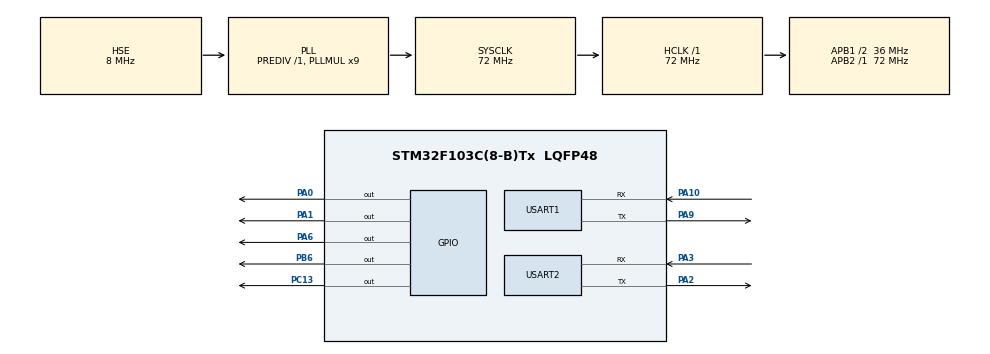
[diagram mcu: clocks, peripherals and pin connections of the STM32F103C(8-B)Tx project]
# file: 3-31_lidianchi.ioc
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Mcu.Family=STM32F1
Mcu.Name=STM32F103C(8-B)Tx
Mcu.Package=LQFP48
NVIC.PriorityGroup=NVIC_PRIORITYGROUP_4
NVIC.USART1_IRQn=true\:0\:0\:false\:false\:true\:true\:true\:true
NVIC.USART2_IRQn=true\:2\:0\:true\:false\:true\:true\:true\:true
PA0-WKUP.GPIO_ModeDefaultOutputPP=GPIO_MODE_OUTPUT_PP
PA0-WKUP.GPIO_PuPd=GPIO_NOPULL
PA0-WKUP.Signal=GPIO_Output
PA1.GPIO_ModeDefaultOutputPP=GPIO_MODE_OUTPUT_PP
PA1.GPIO_PuPd=GPIO_PULLUP
PA1.PinState=GPIO_PIN_SET
PA1.Signal=GPIO_Output
PA10.Mode=Asynchronous
PA10.Signal=USART1_RX
PA13.Mode=Serial_Wire
PA13.Signal=SYS_JTMS-SWDIO
PA14.Mode=Serial_Wire
PA14.Signal=SYS_JTCK-SWCLK
PA2.Mode=Asynchronous
PA2.Signal=USART2_TX
PA3.Mode=Asynchronous
PA3.Signal=USART2_RX
PA6.GPIO_ModeDefaultOutputPP=GPIO_MODE_OUTPUT_PP
PA6.GPIO_PuPd=GPIO_PULLUP
PA6.PinState=GPIO_PIN_SET
PA6.Signal=GPIO_Output
PA9.Mode=Asynchronous
PA9.Signal=USART1_TX
PB6.GPIO_ModeDefaultOutputPP=GPIO_MODE_OUTPUT_PP
PB6.GPIO_PuPd=GPIO_PULLUP
PB6.PinState=GPIO_PIN_SET
PB6.Signal=GPIO_Output
PC13-TAMPER-RTC.GPIO_ModeDefaultOutputPP=GPIO_MODE_OUTPUT_PP
PC13-TAMPER-RTC.GPIO_PuPd=GPIO_PULLUP
PC13-TAMPER-RTC.PinState=GPIO_PIN_SET
PC13-TAMPER-RTC.Signal=GPIO_Output
PD0-OSC_IN.Mode=HSE-External-Oscillator
PD0-OSC_IN.Signal=RCC_OSC_IN
PD1-OSC_OUT.Mode=HSE-External-Oscillator
PD1-OSC_OUT.Signal=RCC_OSC_OUT
ProjectManager.HeapSize=0x200
ProjectManager.StackSize=0x400
ProjectManager.TargetToolchain=MDK-ARM V5.32
RCC.AHBFreq_Value=72000000
RCC.APB1CLKDivider=RCC_HCLK_DIV2
RCC.APB1Freq_Value=36000000
RCC.APB1TimFreq_Value=72000000
RCC.APB2Freq_Value=72000000
RCC.APB2TimFreq_Value=72000000
RCC.HCLKFreq_Value=72000000
RCC.PLLMUL=RCC_PLL_MUL9
RCC.PLLSourceVirtual=RCC_PLLSOURCE_HSE
RCC.SYSCLKFreq_VALUE=72000000
RCC.SYSCLKSource=RCC_SYSCLKSOURCE_PLLCLK
RCC.USBFreq_Value=72000000
USART1.VirtualMode=VM_ASYNC
USART2.VirtualMode=VM_ASYNC
board=custom

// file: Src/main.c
/* USER CODE BEGIN Header */
/**
  ******************************************************************************
  * @file           : main.c
  * @brief          : Main program body
  ******************************************************************************
  * @attention
  *
  * Copyright (c) 2026 STMicroelectronics.
  * All rights reserved.
  *
  * This software is licensed under terms that can be found in the LICENSE file
  * in the root directory of this software component.
  * If no LICENSE file comes with this software, it is provided AS-IS.
  *
  ******************************************************************************
  */
/* USER CODE END Header */
#include "main.h"
#include "usart.h"
#include "gpio.h"

/* USER CODE BEGIN Includes */
#include "oled.h"
#include "ina226.h"
#include "bsp_delay.h"
#include "stdio.h"  // �����Ҫ�� printf ��ӡ���ڣ���Ҫ�������
#include "dht11.h"
#include "key.h"
#include "cloud_service.h"
/* USER CODE END Includes */

/* USER CODE BEGIN PTD */
float temp,humi;
extern uint8_t NET_State;
float bus_voltage = 0.0f;
    float current_ma = 0.0f;
    float power_mw = 0.0f;
// extern uint8_t NET_Step; // 连接步骤状态机变量

#define ALARM_BLINK_TIME_MS        3000U
#define VOL_THRESHOLD_MIN_V          2.50f
#define VOL_THRESHOLD_MAX_V          5.00f
#define VOL_THRESHOLD_STEP_V         0.10f
#define ALARM_BLINK_PERIOD_MS       250U
/* 手动消警后，3秒内不允许再次触发 */
#define ALARM_RETRIGGER_GUARD_MS   3000U
/* 继电器恢复供电后，先给系统和云连接留稳定时间 */
#define POWER_RESTORE_MUTE_MS      8000U
/* DHT11 采样周期，避免读取过于频繁导致失败 */
#define DHT11_SAMPLE_INTERVAL_MS   1500U

typedef enum {
  ALARM_IDLE = 0,
  ALARM_BLINKING,
  ALARM_LATCHED
} alarm_state_t;

static alarm_state_t g_alarm_state = ALARM_IDLE;
static uint32_t g_alarm_start_tick = 0;
static uint32_t g_alarm_last_blink_tick = 0;
static uint32_t g_alarm_guard_until = 0;
static uint32_t g_alarm_auto_enable_tick = 0;
static uint32_t g_dht_next_tick = 0;
static float g_voltage_threshold_v = 2.7f;

static uint8_t TickExpired(uint32_t now, uint32_t deadline)
{
  /* 用带符号差值避免Tick溢出引发判断错误 */
  return (int32_t)(now - deadline) >= 0;
}

static void Alarm_Start(uint32_t now)
{
  /* 启动报警：进入闪烁阶段 */
  g_alarm_state = ALARM_BLINKING;
  Cloud_SetBaojing(true);
  g_alarm_start_tick = now;
  g_alarm_last_blink_tick = now;
}

static void Alarm_Clear(uint32_t now)
{
  /* 手动消警：恢复空闲态并开启防重复触发窗口 */
  g_alarm_state = ALARM_IDLE;
  Cloud_SetBaojing(false);
  g_alarm_guard_until = now + ALARM_RETRIGGER_GUARD_MS;
  HAL_GPIO_WritePin(GPIOC, GPIO_PIN_13, GPIO_PIN_SET);
}

static void Alarm_ApplyOutputs(void)
{
  /* PA1低电平=上电，高电平=断电；仅在锁存报警时断电 */
  if (g_alarm_state == ALARM_LATCHED)
  {
    HAL_GPIO_WritePin(GPIOA, GPIO_PIN_1, GPIO_PIN_SET);
    HAL_GPIO_WritePin(GPIOC, GPIO_PIN_13, GPIO_PIN_RESET);
  }
  else
  {
    HAL_GPIO_WritePin(GPIOA, GPIO_PIN_1, GPIO_PIN_RESET);
    if (g_alarm_state == ALARM_IDLE)
    {
      HAL_GPIO_WritePin(GPIOC, GPIO_PIN_13, GPIO_PIN_SET);
    }
  }
}

static void Alarm_Update(uint32_t now)
{
  if (g_alarm_state == ALARM_BLINKING)
  {
    /* 闪烁期间按节拍翻转PC13 */
    if ((now - g_alarm_last_blink_tick) >= ALARM_BLINK_PERIOD_MS)
    {
      g_alarm_last_blink_tick = now;
      HAL_GPIO_TogglePin(GPIOC, GPIO_PIN_13);
    }

    /* 3秒到达后转入锁存报警：PA1拉高断电 */
    if ((now - g_alarm_start_tick) >= ALARM_BLINK_TIME_MS)
    {
      g_alarm_state = ALARM_LATCHED;
      HAL_GPIO_WritePin(GPIOC, GPIO_PIN_13, GPIO_PIN_RESET);
    }
  }
}

static const char *Alarm_StateText(alarm_state_t s)
{
  if (s == ALARM_BLINKING) return "BLK";
  if (s == ALARM_LATCHED)  return "LAT";
  return "IDL";
}

static uint8_t Relay_IsOn(void)
{
  /* PA1低电平=上电(继电器导通)，高电平=断电 */
  return (HAL_GPIO_ReadPin(GPIOA, GPIO_PIN_1) == GPIO_PIN_RESET) ? 1U : 0U;
}
/* USER CODE END PTD */

void SystemClock_Config(void);

int main(void)
{

  /* USER CODE BEGIN 1 */

	  char text[24];
    uint8_t dht_temp = 0;
  uint8_t dht_humi = 0;
  /* USER CODE END 1 */

  /* MCU Configuration--------------------------------------------------------*/

  /* Reset of all peripherals, Initializes the Flash interface and the Systick. */
  HAL_Init();

  /* Configure the system clock */
  SystemClock_Config();

  /* Initialize all configured peripherals */
  MX_GPIO_Init();
  MX_USART1_UART_Init();
  MX_USART2_UART_Init();
  /* USER CODE BEGIN 2 */
  delay_init(72);
	delay_ms(100);
  USART1_StartReceive_IT();
  USART2_StartReceive_IT();
	OLED_GPIO_Init();
	OLED_Init();
	OLED_Clear();

  DHT11_Init();
	Key_Init();
	if (INA226_Init() == 1)
    {
//        HAL_GPIO_WritePin(GPIOC,GPIO_PIN_13,0);
    }
    else
    {
      HAL_GPIO_WritePin(GPIOC, GPIO_PIN_13, GPIO_PIN_RESET);
		}
  HAL_Delay(2000);
  Cloud_ResetLink();

  /* 上电后先静默一段时间，避免传感器未稳定导致误触发 */
  g_alarm_auto_enable_tick = HAL_GetTick() + POWER_RESTORE_MUTE_MS;
  g_dht_next_tick = HAL_GetTick();

  /* USER CODE END 2 */

  /* Infinite loop */
  /* USER CODE BEGIN WHILE */
  while (1)
  {
		   uint32_t now = HAL_GetTick();
      uint8_t pa1_level;
       /* 调用用户按键状态机，读取标志位事件 */
       Key_Scan_All();

       if (key_pb1_short_evt)
		   {
         key_pb1_short_evt = 0U;
         /* PB1短按：电压阈值-0.1V */
         g_voltage_threshold_v -= VOL_THRESHOLD_STEP_V;
         if (g_voltage_threshold_v < VOL_THRESHOLD_MIN_V)
		     {
           g_voltage_threshold_v = VOL_THRESHOLD_MIN_V;
		     }
		   }

       if (key_pb0_short_evt)
       {
         key_pb0_short_evt = 0U;
         /* PB0按下：电压阈值+0.1V */
         g_voltage_threshold_v += VOL_THRESHOLD_STEP_V;
         if (g_voltage_threshold_v > VOL_THRESHOLD_MAX_V)
         {
           g_voltage_threshold_v = VOL_THRESHOLD_MAX_V;
         }
       }

       if (key_pb1_long_evt)
		   {
         key_pb1_long_evt = 0U;
         /* PB1长按：关闭报警并恢复输出 */
		     Alarm_Clear(now);
		   }

       if (key_pb0_long_evt)
       {
         key_pb0_long_evt = 0U;
         /* PB0长按：手动开启报警流程 */
         Alarm_Start(now);
       }

      /* 每轮读取 INA226，避免被 PA1 分支覆盖成 0 */
      pa1_level = (HAL_GPIO_ReadPin(GPIOA, GPIO_PIN_1) == GPIO_PIN_RESET) ? 1U : 0U;
      bus_voltage = INA226_Get_BusVoltage();
      current_ma  = INA226_Get_Current();
      power_mw    = INA226_Get_Power();

      if ((pa1_level == 1U)
          && (g_alarm_state == ALARM_IDLE)
          && TickExpired(now, g_alarm_guard_until)
          && TickExpired(now, g_alarm_auto_enable_tick))
      {
        /* 触发条件：电压低于阈值 */
        if (bus_voltage < g_voltage_threshold_v)
        {
          Alarm_Start(now);
        }
      }

      Alarm_Update(now);
      Alarm_ApplyOutputs();

      if (pa1_level == 0U)
      {
        /* 负载/模块掉电时保持云状态为未连接 */
        Cloud_ResetLink();
      }

      if ((pa1_level == 1U) && TickExpired(now, g_dht_next_tick))
      {
        g_dht_next_tick = now + DHT11_SAMPLE_INTERVAL_MS;
        if (DHT11_ReadData(&dht_temp, &dht_humi) == 0)
        {
          temp = (float)dht_temp;
          humi = (float)dht_humi;
        }
      }
      if (pa1_level == 1U)
      {
        Cloud_IoT_Loop();
        Cloud_Upload_Handler();
        Cloud_Handle_Message();
      }

  // --- 第1排：电压和湿度 ---
  OLED_ShowCHinese2(0, 0, 0); // 电
  OLED_ShowCHinese2(16, 0, 1); // 压
  snprintf(text, sizeof(text), "%-5.2fV", bus_voltage);
  OLED_ShowString(32, 0, (uint8_t *)text, 16);
  OLED_ShowCHinese2(80, 0, 5); // 湿
  snprintf(text, sizeof(text), "%-2.0f%% ", humi);
  OLED_ShowString(96, 0, (uint8_t *)text, 16);

  // --- 第2排：电流和温度 ---
  OLED_ShowCHinese2(0, 2, 0); // 电
  OLED_ShowCHinese2(16, 2, 2); // 流
  snprintf(text, sizeof(text), "%-5.0fmA", current_ma);
  OLED_ShowString(32, 2, (uint8_t *)text, 16);
  OLED_ShowCHinese2(88, 2, 3); // 温
  snprintf(text, sizeof(text), "%-2.0fC", temp);
  OLED_ShowString(104, 2, (uint8_t *)text, 16);

  // --- 第3排：报警与继电器 ---
  OLED_ShowCHinese2(0, 4, 6); // 报
  OLED_ShowCHinese2(16, 4, 7); // 警
  snprintf(text, sizeof(text), "%-3s", Alarm_StateText(g_alarm_state));
  OLED_ShowString(32, 4, (uint8_t *)text, 16);
  OLED_ShowCHinese2(64, 4, 12); // 继
  OLED_ShowCHinese2(80, 4, 0); // 电
  snprintf(text, sizeof(text), "%-3s ", Relay_IsOn() ? "ON" : "OFF");
  OLED_ShowString(96, 4, (uint8_t *)text, 16);

  // --- 第4排：阈值与网络状态 ---
  OLED_ShowCHinese2(0, 6, 10); // 阈
  OLED_ShowCHinese2(16, 6, 11); // 值
  snprintf(text, sizeof(text), "%-3.1fV", g_voltage_threshold_v);
  OLED_ShowString(32, 6, (uint8_t *)text, 16);
  OLED_ShowCHinese2(80, 6, 8); // 网
  OLED_ShowCHinese2(96, 6, 9); // 络
  snprintf(text, sizeof(text), "%-2s", (NET_State == 2) ? "OK" : "NO");
  OLED_ShowString(112, 6, (uint8_t *)text, 16);
    /* USER CODE END WHILE */

  }
}

void SystemClock_Config(void)
{
  RCC_OscInitTypeDef RCC_OscInitStruct = {0};
  RCC_ClkInitTypeDef RCC_ClkInitStruct = {0};

  /** Initializes the RCC Oscillators according to the specified parameters
  * in the RCC_OscInitTypeDef structure.
  */
  RCC_OscInitStruct.OscillatorType = RCC_OSCILLATORTYPE_HSE;
  RCC_OscInitStruct.HSEState = RCC_HSE_ON;
  RCC_OscInitStruct.HSEPredivValue = RCC_HSE_PREDIV_DIV1;
  RCC_OscInitStruct.HSIState = RCC_HSI_ON;
  RCC_OscInitStruct.PLL.PLLState = RCC_PLL_ON;
  RCC_OscInitStruct.PLL.PLLSource = RCC_PLLSOURCE_HSE;
  RCC_OscInitStruct.PLL.PLLMUL = RCC_PLL_MUL9;
  if (HAL_RCC_OscConfig(&RCC_OscInitStruct) != HAL_OK)
  {
    Error_Handler();
  }

  /** Initializes the CPU, AHB and APB buses clocks
  */
  RCC_ClkInitStruct.ClockType = RCC_CLOCKTYPE_HCLK|RCC_CLOCKTYPE_SYSCLK
                              |RCC_CLOCKTYPE_PCLK1|RCC_CLOCKTYPE_PCLK2;
  RCC_ClkInitStruct.SYSCLKSource = RCC_SYSCLKSOURCE_PLLCLK;
  RCC_ClkInitStruct.AHBCLKDivider = RCC_SYSCLK_DIV1;
  RCC_ClkInitStruct.APB1CLKDivider = RCC_HCLK_DIV2;
  RCC_ClkInitStruct.APB2CLKDivider = RCC_HCLK_DIV1;

  if (HAL_RCC_ClockConfig(&RCC_ClkInitStruct, FLASH_LATENCY_2) != HAL_OK)
  {
    Error_Handler();
  }
}

void Error_Handler(void)
{
  __disable_irq();
  while (1)
  {
  }
}
